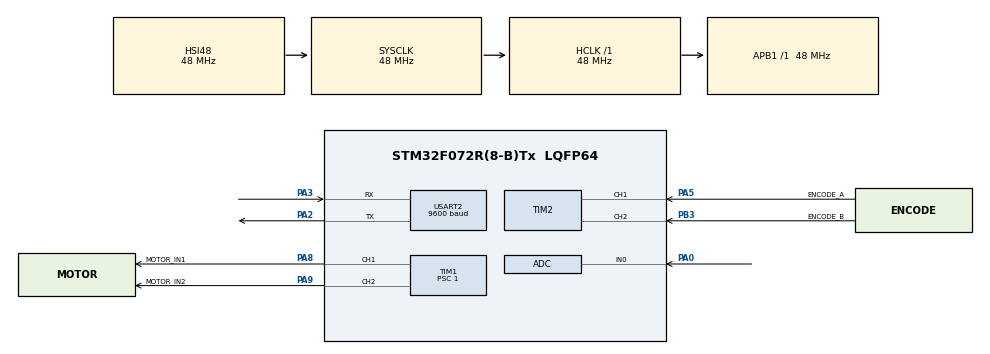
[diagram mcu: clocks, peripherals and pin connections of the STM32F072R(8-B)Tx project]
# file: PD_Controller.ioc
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Mcu.Family=STM32F0
Mcu.Name=STM32F072R(8-B)Tx
Mcu.Package=LQFP64
NVIC.TIM3_IRQn=true\:0\:0\:false\:false\:true\:true\:true\:true
PA0.Mode=IN0
PA0.Signal=ADC_IN0
PA2.Mode=Asynchronous
PA2.Signal=USART2_TX
PA3.Mode=Asynchronous
PA3.Signal=USART2_RX
PA5.GPIO_Label=ENCODE_A
PA5.Signal=S_TIM2_CH1_ETR
PA8.GPIO_Label=MOTOR_IN1
PA8.Signal=S_TIM1_CH1
PA9.GPIO_Label=MOTOR_IN2
PA9.Signal=S_TIM1_CH2
PB3.GPIO_Label=ENCODE_B
PB3.Signal=S_TIM2_CH2
ProjectManager.HeapSize=0x200
ProjectManager.StackSize=0x400
ProjectManager.TargetToolchain=STM32CubeIDE
RCC.AHBFreq_Value=48000000
RCC.APB1Freq_Value=48000000
RCC.APB1TimFreq_Value=48000000
RCC.HCLKFreq_Value=48000000
RCC.PLLSourceVirtual=RCC_PLLSOURCE_HSI48
RCC.SYSCLKFreq_VALUE=48000000
RCC.SYSCLKSource=RCC_SYSCLKSOURCE_HSI48
SH.S_TIM1_CH1.0=TIM1_CH1,PWM Generation1 CH1
SH.S_TIM1_CH2.0=TIM1_CH2,PWM Generation2 CH2
SH.S_TIM2_CH1_ETR.0=TIM2_CH1,Encoder_Interface
SH.S_TIM2_CH2.0=TIM2_CH2,Encoder_Interface
TIM1.Channel-PWM\ Generation1\ CH1=TIM_CHANNEL_1
TIM1.Channel-PWM\ Generation2\ CH2=TIM_CHANNEL_2
TIM1.Period=1023
TIM1.Prescaler=1
TIM1.Pulse-PWM\ Generation1\ CH1=500
TIM1.Pulse-PWM\ Generation2\ CH2=0
TIM2.EncoderMode=TIM_ENCODERMODE_TI12
TIM2.IC1Polarity=TIM_ICPOLARITY_RISING
TIM3.ClockDivision=TIM_CLOCKDIVISION_DIV1
TIM3.Period=100
TIM3.Prescaler=100
TIM3.TIM_MasterOutputTrigger=TIM_TRGO_RESET
USART2.BaudRate=9600
USART2.VirtualMode-Asynchronous=VM_ASYNC
VP_TIM1_VS_ClockSourceINT.Mode=Internal
VP_TIM3_VS_ClockSourceINT.Mode=Internal
board=custom

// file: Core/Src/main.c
/* USER CODE BEGIN Header */
/**
 ******************************************************************************
 * @file           : main.c
 * @brief          : Main program body
 ******************************************************************************
 * @attention
 *
 * Copyright (c) 2025 STMicroelectronics.
 * All rights reserved.
 *
 * This software is licensed under terms that can be found in the LICENSE file
 * in the root directory of this software component.
 * If no LICENSE file comes with this software, it is provided AS-IS.
 *
 ******************************************************************************
 */
/* USER CODE END Header */
#include "main.h"
#include "adc.h"
#include "tim.h"
#include "usart.h"
#include "gpio.h"

/* USER CODE BEGIN Includes */
#include "motorControl.h"
#include "terminal.h"
/* USER CODE END Includes */

/* USER CODE BEGIN PD */
#define CONTROLLER
/* USER CODE END PD */

/* USER CODE BEGIN PV */
// Global Variables
int x = 0;
int test = 0;
// Copied from Arduino Code
volatile int pwmValue = 0;
volatile int refCount = 0;
float converted = 0;
float ek = 0;
float mk = 0;
float ek1 = 0;
int plantPWM = 0;
float adValue = 0.0;
// Control system constants:
// Change these constants to your own values
const float kp = 9.396;
const float kd = 0.733;
const float Ts = 0.0720;

// Computed Coefficients (update when Kp, Kd, or Ts change)
volatile float alpha1, alpha2;

/* USER CODE END PV */

void SystemClock_Config(void);
/* USER CODE BEGIN PFP */
void HAL_TIM_PeriodElapsedCallback(TIM_HandleTypeDef *htim);
/* USER CODE END PFP */

int main(void) {

	/* MCU Configuration--------------------------------------------------------*/

	/* Reset of all peripherals, Initializes the Flash interface and the Systick. */
	HAL_Init();

	/* Configure the system clock */
	SystemClock_Config();

	/* Initialize all configured peripherals */
	MX_GPIO_Init();
	MX_TIM1_Init();
	MX_TIM2_Init();
	MX_USART2_UART_Init();
	MX_TIM3_Init();
	MX_ADC_Init();

	/* Infinite loop */
	/* USER CODE BEGIN WHILE */
	// Initializing
	motor_initEncoder(htim2, TIM_CHANNEL_1, TIM_CHANNEL_2);
	motor_initPWM(htim1, TIM_CHANNEL_1, TIM_CHANNEL_2);
	terminal_init(huart2);
	// Start the timer interrupt
	HAL_TIM_Base_Start_IT(&htim3);

	// Header code
	terminal_print("---------------------------\r\n");
	terminal_print("--- Controls Systems II ---\r\n");
	terminal_print("---  Servo Lab Project  ---\r\n");
	terminal_print("---------------------------\r\n");

	char rxBuff[100] = { '\0' };
	char txBuff[100] = { '\0' };

	// Initialize controller coefficients
	alpha1 = kp + (2 * kd / Ts);
	alpha2 = kp - (2 * kd / Ts);

	while (1) {
		terminal_print("Enter Desired Position:");
		terminal_receive(rxBuff, sizeof(rxBuff));
		sscanf(rxBuff, "%d", &refCount);
		sprintf(txBuff, "\r\nValue Entered: %d\r\n", refCount);
		terminal_print(txBuff);
		HAL_Delay(2500);
		for (int i = 1; i <= 0; i++) {
			sprintf(txBuff, "AD Value = %f\r\n", adValue);
			terminal_print(txBuff);
		}
		terminal_clearBuff(rxBuff);
		terminal_clearBuff(txBuff);
		/* USER CODE END WHILE */

	}
}

void SystemClock_Config(void) {
	RCC_OscInitTypeDef RCC_OscInitStruct = { 0 };
	RCC_ClkInitTypeDef RCC_ClkInitStruct = { 0 };
	RCC_PeriphCLKInitTypeDef PeriphClkInit = { 0 };

	/** Initializes the RCC Oscillators according to the specified parameters
	 * in the RCC_OscInitTypeDef structure.
	 */
	RCC_OscInitStruct.OscillatorType = RCC_OSCILLATORTYPE_HSI14
			| RCC_OSCILLATORTYPE_HSI48;
	RCC_OscInitStruct.HSI48State = RCC_HSI48_ON;
	RCC_OscInitStruct.HSI14State = RCC_HSI14_ON;
	RCC_OscInitStruct.HSI14CalibrationValue = 16;
	RCC_OscInitStruct.PLL.PLLState = RCC_PLL_NONE;
	if (HAL_RCC_OscConfig(&RCC_OscInitStruct) != HAL_OK) {
		Error_Handler();
	}

	/** Initializes the CPU, AHB and APB buses clocks
	 */
	RCC_ClkInitStruct.ClockType = RCC_CLOCKTYPE_HCLK | RCC_CLOCKTYPE_SYSCLK
			| RCC_CLOCKTYPE_PCLK1;
	RCC_ClkInitStruct.SYSCLKSource = RCC_SYSCLKSOURCE_HSI48;
	RCC_ClkInitStruct.AHBCLKDivider = RCC_SYSCLK_DIV1;
	RCC_ClkInitStruct.APB1CLKDivider = RCC_HCLK_DIV1;

	if (HAL_RCC_ClockConfig(&RCC_ClkInitStruct, FLASH_LATENCY_1) != HAL_OK) {
		Error_Handler();
	}
	PeriphClkInit.PeriphClockSelection = RCC_PERIPHCLK_USART2;
	PeriphClkInit.Usart2ClockSelection = RCC_USART2CLKSOURCE_PCLK1;
	if (HAL_RCCEx_PeriphCLKConfig(&PeriphClkInit) != HAL_OK) {
		Error_Handler();
	}
}

/* USER CODE BEGIN 4 */
// Timer callback
void HAL_TIM_PeriodElapsedCallback(TIM_HandleTypeDef *htim) {
	// This interrupt subroutine will run every T seconds, where T is the period of the timer
	x = motor_getCount();

	motor_PWMSetForward(pwmValue);	// Modify he duty cycle accordingly

	converted = (motor_getCount()) * 0.036;
	//Compute current error
	ek = (float) (refCount - converted);
	//Compute control output
	mk = alpha1 * ek - alpha2 * ek1;
	// PD control output
	plantPWM = mk;

	// Saturation
	if (plantPWM > 1023)
		plantPWM = 1023;
	if (plantPWM < -1023)
		plantPWM = -1023;
	// Change motor direction
	if (plantPWM >= 0) {
		motor_PWMSetForward((int) plantPWM);
	} else {
		motor_PWMSetBackward(abs((int) plantPWM));
	}

	ek1 = ek;	// Update ek values
}
/* USER CODE END 4 */

void Error_Handler(void) {
	__disable_irq();
	while (1) {
	}
}
